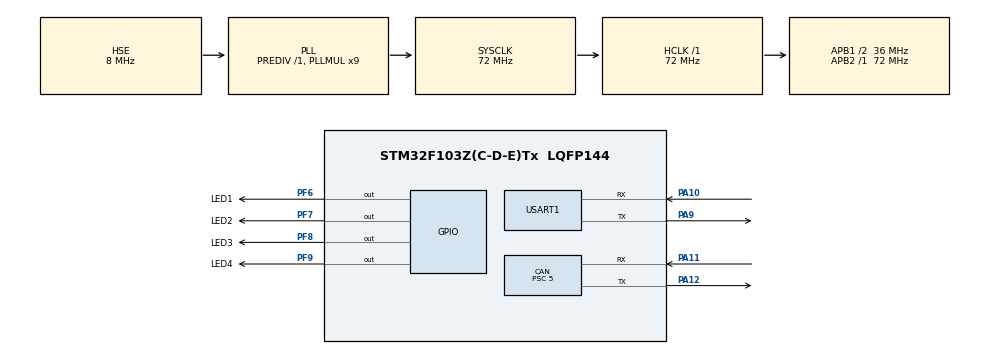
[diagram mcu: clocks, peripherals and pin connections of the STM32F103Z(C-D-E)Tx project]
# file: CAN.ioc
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CAN.BS1=CAN_BS1_8TQ
CAN.BS2=CAN_BS2_7TQ
CAN.CalculateTimeBit=2222
CAN.CalculateTimeQuantum=138.88888888888889
CAN.Mode=CAN_MODE_LOOPBACK
CAN.Prescaler=5
Mcu.Family=STM32F1
Mcu.Name=STM32F103Z(C-D-E)Tx
Mcu.Package=LQFP144
NVIC.PriorityGroup=NVIC_PRIORITYGROUP_4
OSC_IN.Mode=HSE-External-Oscillator
OSC_IN.Signal=RCC_OSC_IN
OSC_OUT.Mode=HSE-External-Oscillator
OSC_OUT.Signal=RCC_OSC_OUT
PA10.Mode=Asynchronous
PA10.Signal=USART1_RX
PA11.GPIO_PuPd=GPIO_PULLUP
PA11.Mode=Master
PA11.Signal=CAN_RX
PA12.Mode=Master
PA12.Signal=CAN_TX
PA9.Mode=Asynchronous
PA9.Signal=USART1_TX
PF6.GPIO_Label=LED1
PF6.Signal=GPIO_Output
PF7.GPIO_Label=LED2
PF7.Signal=GPIO_Output
PF8.GPIO_Label=LED3
PF8.Signal=GPIO_Output
PF9.GPIO_Label=LED4
PF9.Signal=GPIO_Output
ProjectManager.HeapSize=0x200
ProjectManager.StackSize=0x400
ProjectManager.TargetToolchain=MDK-ARM V5
RCC.AHBFreq_Value=72000000
RCC.APB1CLKDivider=RCC_HCLK_DIV2
RCC.APB1Freq_Value=36000000
RCC.APB1TimFreq_Value=72000000
RCC.APB2Freq_Value=72000000
RCC.APB2TimFreq_Value=72000000
RCC.HCLKFreq_Value=72000000
RCC.HSIState=RCC_HSI_ON
RCC.PLLMUL=RCC_PLL_MUL9
RCC.PLLSourceVirtual=RCC_PLLSOURCE_HSE
RCC.SYSCLKFreq_VALUE=72000000
RCC.SYSCLKSource=RCC_SYSCLKSOURCE_PLLCLK
RCC.USBFreq_Value=72000000
VP_SYS_VS_ND.Mode=No_Debug
board=CAN

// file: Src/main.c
/**
  ******************************************************************************
  * File Name          : main.c
  * Description        : Main program body
  ******************************************************************************
  *
  * COPYRIGHT(c) 2016 STMicroelectronics
  *
  * Redistribution and use in source and binary forms, with or without modification,
  * are permitted provided that the following conditions are met:
  *   1. Redistributions of source code must retain the above copyright notice,
  *      this list of conditions and the following disclaimer.
  *   2. Redistributions in binary form must reproduce the above copyright notice,
  *      this list of conditions and the following disclaimer in the documentation
  *      and/or other materials provided with the distribution.
  *   3. Neither the name of STMicroelectronics nor the names of its contributors
  *      may be used to endorse or promote products derived from this software
  *      without specific prior written permission.
  *
  * THIS SOFTWARE IS PROVIDED BY THE COPYRIGHT HOLDERS AND CONTRIBUTORS "AS IS"
  * AND ANY EXPRESS OR IMPLIED WARRANTIES, INCLUDING, BUT NOT LIMITED TO, THE
  * IMPLIED WARRANTIES OF MERCHANTABILITY AND FITNESS FOR A PARTICULAR PURPOSE ARE
  * DISCLAIMED. IN NO EVENT SHALL THE COPYRIGHT HOLDER OR CONTRIBUTORS BE LIABLE
  * FOR ANY DIRECT, INDIRECT, INCIDENTAL, SPECIAL, EXEMPLARY, OR CONSEQUENTIAL
  * DAMAGES (INCLUDING, BUT NOT LIMITED TO, PROCUREMENT OF SUBSTITUTE GOODS OR
  * SERVICES; LOSS OF USE, DATA, OR PROFITS; OR BUSINESS INTERRUPTION) HOWEVER
  * CAUSED AND ON ANY THEORY OF LIABILITY, WHETHER IN CONTRACT, STRICT LIABILITY,
  * OR TORT (INCLUDING NEGLIGENCE OR OTHERWISE) ARISING IN ANY WAY OUT OF THE USE
  * OF THIS SOFTWARE, EVEN IF ADVISED OF THE POSSIBILITY OF SUCH DAMAGE.
  *
  ******************************************************************************
  */
#include "main.h"
#include "stm32f1xx_hal.h"
#include "can.h"
#include "usart.h"
#include "gpio.h"

/* USER CODE BEGIN PV */
/* Private variables ---------------------------------------------------------*/

/* USER CODE END PV */

void SystemClock_Config(void);
void Error_Handler(void);

/* USER CODE BEGIN PFP */
/* Private function prototypes -----------------------------------------------*/
static HAL_StatusTypeDef CAN_Polling(void);
/* USER CODE END PFP */

int main(void)
{

  /* MCU Configuration----------------------------------------------------------*/

  /* Reset of all peripherals, Initializes the Flash interface and the Systick. */
  HAL_Init();

  /* Configure the system clock */
  SystemClock_Config();

  /* Initialize all configured peripherals */
  MX_GPIO_Init();
  MX_USART1_UART_Init();
  MX_CAN_Init();

  /* USER CODE BEGIN 2 */

  if(CAN_Polling() == HAL_OK)
  {
    /* OK: Turn on LED1 */
    BSP_LED_On(LED1);
    printf("**** CAN LoopBack Test Success ****\r\n\r\n");
  }
  else
  {
    /* KO: Turn on LED2 */
    Error_Handler();
  }

  /* USER CODE END 2 */

  /* Infinite loop */
  while (1)
  {

  }

}

/** System Clock Configuration
*/
void SystemClock_Config(void)
{

  RCC_OscInitTypeDef RCC_OscInitStruct;
  RCC_ClkInitTypeDef RCC_ClkInitStruct;

    /**Initializes the CPU, AHB and APB busses clocks
    */
  RCC_OscInitStruct.OscillatorType = RCC_OSCILLATORTYPE_HSE;
  RCC_OscInitStruct.HSEState = RCC_HSE_ON;
  RCC_OscInitStruct.HSEPredivValue = RCC_HSE_PREDIV_DIV1;
  RCC_OscInitStruct.HSIState = RCC_HSI_ON;
  RCC_OscInitStruct.PLL.PLLState = RCC_PLL_ON;
  RCC_OscInitStruct.PLL.PLLSource = RCC_PLLSOURCE_HSE;
  RCC_OscInitStruct.PLL.PLLMUL = RCC_PLL_MUL9;
  if (HAL_RCC_OscConfig(&RCC_OscInitStruct) != HAL_OK)
  {
    Error_Handler();
  }

    /**Initializes the CPU, AHB and APB busses clocks
    */
  RCC_ClkInitStruct.ClockType = RCC_CLOCKTYPE_HCLK|RCC_CLOCKTYPE_SYSCLK
                              |RCC_CLOCKTYPE_PCLK1|RCC_CLOCKTYPE_PCLK2;
  RCC_ClkInitStruct.SYSCLKSource = RCC_SYSCLKSOURCE_PLLCLK;
  RCC_ClkInitStruct.AHBCLKDivider = RCC_SYSCLK_DIV1;
  RCC_ClkInitStruct.APB1CLKDivider = RCC_HCLK_DIV2;
  RCC_ClkInitStruct.APB2CLKDivider = RCC_HCLK_DIV1;

  if (HAL_RCC_ClockConfig(&RCC_ClkInitStruct, FLASH_LATENCY_2) != HAL_OK)
  {
    Error_Handler();
  }

    /**Configure the Systick interrupt time
    */
  HAL_SYSTICK_Config(HAL_RCC_GetHCLKFreq()/1000);

    /**Configure the Systick
    */
  HAL_SYSTICK_CLKSourceConfig(SYSTICK_CLKSOURCE_HCLK);

  /* SysTick_IRQn interrupt configuration */
  HAL_NVIC_SetPriority(SysTick_IRQn, 0, 0);
}

/* USER CODE BEGIN 4 */
/**
  * @brief  Configures the CAN, transmit and receive by polling
  * @param  None
  * @retval PASSED if the reception is well done, FAILED in other case
  */
HAL_StatusTypeDef CAN_Polling(void)
{
  CAN_FilterConfTypeDef  sFilterConfig;
  static CanTxMsgTypeDef        TxMessage;
  static CanRxMsgTypeDef        RxMessage;

  /*##-1- Configure the CAN peripheral #######################################*/
  hcan.pTxMsg = &TxMessage;
  hcan.pRxMsg = &RxMessage;

  /*##-2- Configure the CAN1 Filter ###########################################*/
  sFilterConfig.FilterNumber = 0;
  sFilterConfig.FilterMode = CAN_FILTERMODE_IDMASK;
  sFilterConfig.FilterScale = CAN_FILTERSCALE_32BIT;
  sFilterConfig.FilterIdHigh = 0x0000;
  sFilterConfig.FilterIdLow = 0x0000;
  sFilterConfig.FilterMaskIdHigh = 0x0000;
  sFilterConfig.FilterMaskIdLow = 0x0000;
  sFilterConfig.FilterFIFOAssignment = 0;
  sFilterConfig.FilterActivation = ENABLE;
  sFilterConfig.BankNumber = 14;

  if (HAL_CAN_ConfigFilter(&hcan, &sFilterConfig) != HAL_OK)
  {
    /* Filter configuration Error */
    Error_Handler();
  }

  /*##-3- Configure Transmission process #####################################*/
  hcan.pTxMsg->StdId = 0x11;
  hcan.pTxMsg->ExtId = 0x01;
  hcan.pTxMsg->RTR = CAN_RTR_DATA;
  hcan.pTxMsg->IDE = CAN_ID_STD;
  hcan.pTxMsg->DLC = 2;
  hcan.pTxMsg->Data[0]=0xCA;
  hcan.pTxMsg->Data[1]=0xFE;

  if(HAL_CAN_Transmit(&hcan, 10) != HAL_OK)
  {
    /* Transmition Error */
    Error_Handler();
  }
  if(HAL_CAN_GetState(&hcan) != HAL_CAN_STATE_READY)
  {
     Error_Handler();
  }

  /*##-4- Start the Reception process ########################################*/
  if(HAL_CAN_Receive(&hcan, CAN_FIFO0,10) != HAL_OK)
  {
    /* Reception Error */
    Error_Handler();
  }

  if(HAL_CAN_GetState(&hcan) != HAL_CAN_STATE_READY)
  {
    return HAL_ERROR;
  }

  if(hcan.pRxMsg->StdId != 0x11)
  {
    return HAL_ERROR;
  }

  if(hcan.pRxMsg->IDE != CAN_ID_STD)
  {
    return HAL_ERROR;
  }

  if(hcan.pRxMsg->DLC != 2)
  {
    return HAL_ERROR;
  }

  if((hcan.pRxMsg->Data[0]<<8|RxMessage.Data[1]) != 0xCAFE)
  {
    return HAL_ERROR;
  }

  return HAL_OK; /* Test Passed */
}

/* USER CODE END 4 */

void Error_Handler(void)
{
  /* USER CODE BEGIN Error_Handler */
  /* User can add his own implementation to report the HAL error return state */
  /* Turn LED2 on */
  BSP_LED_On(LED2);
  printf("**** CAN LoopBack Test Failed ****\r\n\r\n");
  while(1)
  {
  }
  /* USER CODE END Error_Handler */
}

/************************ (C) COPYRIGHT STMicroelectronics *****END OF FILE****/
